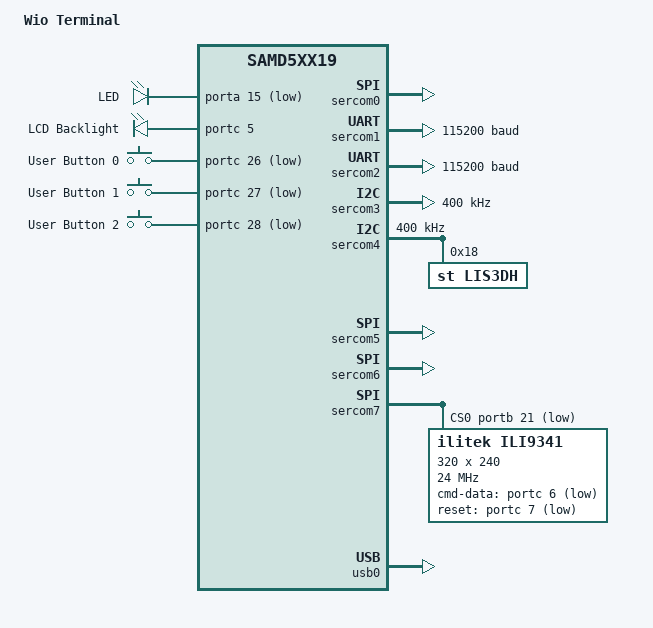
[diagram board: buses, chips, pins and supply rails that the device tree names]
/*
 * Copyright (c) 2021 Szymon Duchniewicz
 *
 * SPDX-License-Identifier: Apache-2.0
 */

/dts-v1/;
#include <atmel/samd5xx19.dtsi>
#include "wio_terminal-pinctrl.dtsi"

/ {
	model = "Wio Terminal";
	compatible = "seeed,wio-terminal";

	chosen {
		zephyr,console = &cdc_acm_uart0;
		zephyr,shell-uart = &sercom2;
		zephyr,sram = &sram0;
		zephyr,flash = &flash0; // todo add support w25q32jvwj0 external flash (4MB)
		zephyr,code-partition = &code_partition;
		zephyr,display = &ili9341;
	};

	/* These aliases are provided for compatibility with samples */
	aliases {
		led0 = &led0;
		lcdbacklight = &lcd_backlight;
		sw0 = &user_button_0;
		sw1 = &user_button_1;
		sw2 = &user_button_2;
		accel0 = &lis3dh;
	};

	leds {
		compatible = "gpio-leds";
		led0: led_0 {
			gpios = <&porta 15 GPIO_ACTIVE_LOW>;
			
			label = "LED";
		};

		lcd_backlight: lcd_backlight {
			gpios = <&portc 5 GPIO_ACTIVE_HIGH>;
			label = "LCD Backlight";
		};
	};

	gpio_keys {
		compatible = "gpio-keys";
		user_button_0: button_0 {
			label = "User Button 0";
			gpios = <&portc 26 1>;
		};
		user_button_1: button_1 {
			label = "User Button 1";
			gpios = <&portc 27 1>;
		};
		user_button_2: button_2 {
			label = "User Button 2";
			gpios = <&portc 28 1>;
		};
	};

};

&cpu0 {
	clock-frequency = <120000000>;
};

// RTL8720D SPI is on SERCOM0
&sercom0 {
	status = "okay";
	compatible = "atmel,sam0-spi";
	#address-cells = <1>;
	#size-cells = <0>;
	dipo = <2>; // MISO (on PAD2) as DI
	dopo = <0>; // MOSI (on PAD0) as DO

	pinctrl-0 = <&sercom0_spi_default>;
	pinctrl-names = "default";

	cs-gpios = <&portc 25 GPIO_ACTIVE_LOW>;
};

&sercom1 {
	status = "okay";
	compatible = "atmel,sam0-uart";
	current-speed = <115200>;
	rxpo = <1>;
	txpo = <0>;
	pinctrl-0 = <&sercom1_uart_default>;
	pinctrl-names = "default";
};

&sercom2 {
	status = "okay";
	compatible = "atmel,sam0-uart";
	current-speed = <115200>;
	rxpo = <1>;
	txpo = <0>;
	pinctrl-0 = <&sercom2_uart_default>;
	pinctrl-names = "default";
};

&sercom3 {
	status = "okay";
	compatible = "atmel,sam0-i2c";
	clock-frequency = <I2C_BITRATE_FAST>;
	#address-cells = <1>;
	#size-cells = <0>;

	pinctrl-0 = <&sercom3_i2c_default>;
	pinctrl-names = "default";
};

&sercom4 {
	status = "okay";
	compatible = "atmel,sam0-i2c";
	clock-frequency = <I2C_BITRATE_FAST>;
	#address-cells = <1>;
	#size-cells = <0>;

	pinctrl-0 = <&sercom4_i2c_default>;
	pinctrl-names = "default";

	lis3dh:lis3dh@18 {
		compatible = "st,lis3dh", "st,lis2dh";
		reg = <0x18>;
	};	
};

&sercom5 {
	status = "okay";
	compatible = "atmel,sam0-spi";
	#address-cells = <1>;
	#size-cells = <0>;
	dipo = <2>; // MISO (on PAD2) as DI
	dopo = <0>; // MOSI (on PAD0) as DO

	pinctrl-0 = <&sercom5_spi_default>;
	pinctrl-names = "default";

	cs-gpios = <&portb 1 GPIO_ACTIVE_LOW>;
};

&sercom6 {
	status = "okay";
	compatible = "atmel,sam0-spi";
	#address-cells = <1>;
	#size-cells = <0>;
	dipo = <2>; // MISO (on PAD2) as DI
	dopo = <0>; // MOSI (on PAD0) as DO

	pinctrl-0 = <&sercom6_spi_default>;
	pinctrl-names = "default";

	cs-gpios = <&portc 19 GPIO_ACTIVE_LOW>;

	// sdhc0: sdhc@0 {
	// 	compatible = "zephyr,sdhc-spi-slot";
	// 	reg = <0>;
	// 	status = "okay";
	// 	sdmmc {
	// 		compatible = "zephyr,sdmmc-disk";
	// 		status = "okay";
	// 	};
	// 	spi-max-frequency = <24000000>;
	// };

};

&sercom7 {
	status = "okay";
	compatible = "atmel,sam0-spi";
	#address-cells = <1>;
	#size-cells = <0>;
	dipo = <2>; // MISO (on PAD2) as DI
	dopo = <2>; // MOSI (on PAD3) as DO

	pinctrl-0 = <&sercom7_spi_default>;
	pinctrl-names = "default";

	cs-gpios = <&portb 21 GPIO_ACTIVE_LOW>;

	ili9341: ili9341@0 {
		compatible = "ilitek,ili9341";
		spi-max-frequency = <24000000>;
		reg = <0>;
		cmd-data-gpios = <&portc 6 GPIO_ACTIVE_LOW>;
		reset-gpios = < &portc 7 GPIO_ACTIVE_LOW  >;
		pixel-format = <0>;
		rotation = <270>;
		width = <320>;
		height = <240>;
	};


};


&dmac {
	status = "okay";
};

&flash0 {
	partitions {
		compatible = "fixed-partitions";
		#address-cells = <1>;
		#size-cells = <1>;

		boot_partition: partition@0 {
			label = "uf2";
			reg = <0x00000000 DT_SIZE_K(16)>;
			read-only;
		};

		code_partition: partition@4000 {
			label = "code";
			reg = <0x4000 DT_SIZE_K(512-16)>;
			read-only;
		};
	};
};

zephyr_udc0: &usb0 {
	status = "okay";

	pinctrl-0 = <&usb_dc_default>;
	pinctrl-names = "default";

	cdc_acm_uart0: cdc_acm_uart0 {
		compatible = "zephyr,cdc-acm-uart";
	};

};
